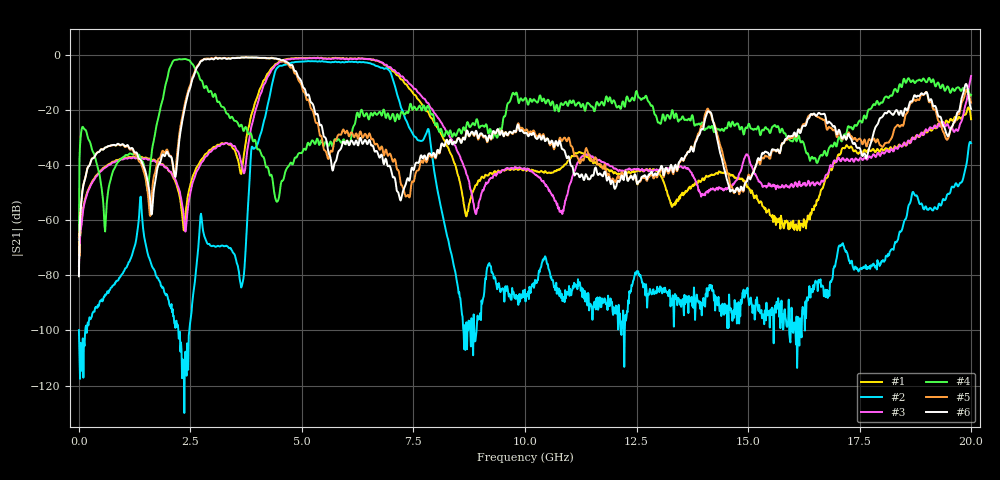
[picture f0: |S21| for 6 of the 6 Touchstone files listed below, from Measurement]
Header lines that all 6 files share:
!Agilent Technologies,E5071C,MY46215201,A.10.06
!Data & Calibration Information:
!Freq	S11:SOLT2(ON)	S21:SOLT2(ON)	S12:SOLT2(ON)	S22:SOLT2(ON)
!PortZ  Port1:50+j0  Port2:50+j0
!Above PortZ is port z conversion or system Z0 setting when saving the data.
!When reading, reference impedance value at option line is always used.
# Hz S dB R 50
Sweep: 300 kHz to 20 GHz
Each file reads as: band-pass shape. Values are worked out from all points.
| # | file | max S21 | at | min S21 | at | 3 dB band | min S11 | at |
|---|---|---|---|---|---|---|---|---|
| 1 | BPF1.S2P | -1.00 dB | 5.35 GHz | -73.0 dB | 12.8 MHz | 4.375 GHz-6.9 GHz | -45.5 dB | 5.075 GHz |
| 2 | BPF1_2.S2P | -2.25 dB | 5.138 GHz | -129.9 dB | 2.363 GHz | 4.425 GHz-6.925 GHz | -37.9 dB | 6.388 GHz |
| 3 | BPF2.S2P | -1.10 dB | 5.35 GHz | -76.6 dB | 300 kHz | 4.4 GHz-6.913 GHz | -48.2 dB | 5.138 GHz |
| 4 | VBF2275#1.S2P | -1.50 dB | 2.363 GHz | -66.9 dB | 300 kHz | 2.05 GHz-2.575 GHz | -23.3 dB | 2.15 GHz |
| 5 | VBZ3590#1.S2P | -0.87 dB | 3.75 GHz | -66.2 dB | 300 kHz | 2.663 GHz-4.7 GHz | -39.7 dB | 3.888 GHz |
| 6 | VBZ3590#2.S2P | -0.91 dB | 3.738 GHz | -80.3 dB | 300 kHz | 2.688 GHz-4.788 GHz | -41.7 dB | 18.88 GHz |
